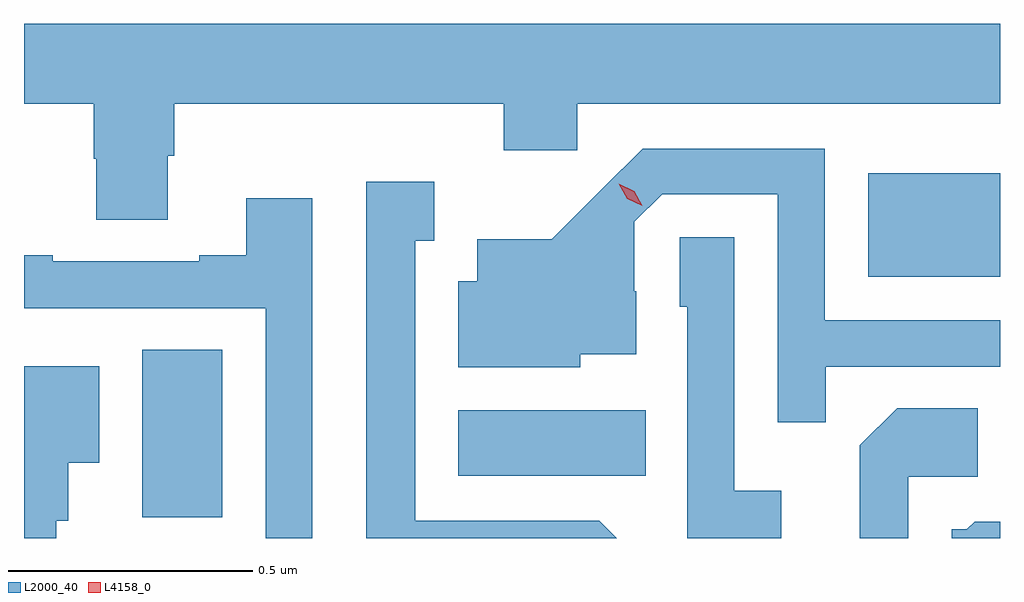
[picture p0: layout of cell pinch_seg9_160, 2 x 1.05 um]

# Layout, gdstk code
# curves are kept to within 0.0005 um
import gdstk
lib = gdstk.Library(unit=1e-6, precision=1e-09)
def R(c, l, rs):  # rectangles x0, y0, x1, y1
    for r in rs: c.add(gdstk.rectangle(r[:2], r[2:], *l))
def P(c, l, *ps):  # polygons
    for p in ps: c.add(gdstk.Polygon(p, *l))
L2000_40 = (2000, 40)
L4158_0 = (4158, 0)

pinch_seg9_160 = lib.new_cell('pinch_seg9_160')
R(pinch_seg9_160, L2000_40, [(694.166,1166.269,694.33,1166.612), (694.814,1166.354,695.198,1166.488), (695.654,1166.762,695.924,1166.974)])
P(pinch_seg9_160, L2000_40, [(694.219,1167.01),(694.232,1167.01),(694.232,1167.116),(694.907,1167.116),(694.907,1167.021),(695.058,1167.021),(695.058,1167.116),(695.924,1167.116),(695.924,1167.28),(693.924,1167.28),(693.924,1167.116),(694.067,1167.116),(694.067,1167.003),(694.072,1167.003),(694.072,1166.878),(694.219,1166.878)],
  [(695.567,1166.577),(695.924,1166.577),(695.924,1166.673),(695.565,1166.673),(695.565,1167.024),(695.192,1167.024),(695.005,1166.839),(694.853,1166.839),(694.853,1166.752),(694.814,1166.752),(694.814,1166.576),(695.064,1166.576),(695.064,1166.603),(695.179,1166.603),(695.179,1166.732),(695.175,1166.732),(695.175,1166.874),(695.232,1166.931),(695.469,1166.931),(695.469,1166.464),(695.567,1166.464)],
  [(695.103,1166.262),(694.726,1166.262),(694.726,1166.835),(694.765,1166.835),(694.765,1166.956),(694.625,1166.956),(694.625,1166.226),(695.139,1166.226)],
  [(694.515,1166.923),(694.379,1166.923),(694.379,1166.806),(694.283,1166.806),(694.283,1166.793),(693.983,1166.793),(693.983,1166.806),(693.924,1166.806),(693.924,1166.697),(694.419,1166.697),(694.419,1166.226),(694.515,1166.226)],
  [(695.476,1166.323),(695.379,1166.323),(695.379,1166.843),(695.268,1166.843),(695.268,1166.7),(695.283,1166.7),(695.283,1166.226),(695.476,1166.226)],
  [(693.99,1166.262),(694.015,1166.262),(694.015,1166.381),(694.078,1166.381),(694.078,1166.578),(693.924,1166.578),(693.924,1166.226),(693.99,1166.226)],
  [(695.736,1166.352),(695.878,1166.352),(695.878,1166.492),(695.713,1166.492),(695.637,1166.416),(695.637,1166.226),(695.736,1166.226)],
  [(695.924,1166.26),(695.872,1166.26),(695.856,1166.244),(695.825,1166.244),(695.825,1166.226),(695.924,1166.226)])
P(pinch_seg9_160, L4158_0, [(695.191,1166.907),(695.16,1166.922),(695.143,1166.952),(695.143,1166.952),(695.143,1166.952),(695.174,1166.937),(695.191,1166.907),(695.191,1166.907)])

lib.write_gds('pinch_seg9_160.gds')
